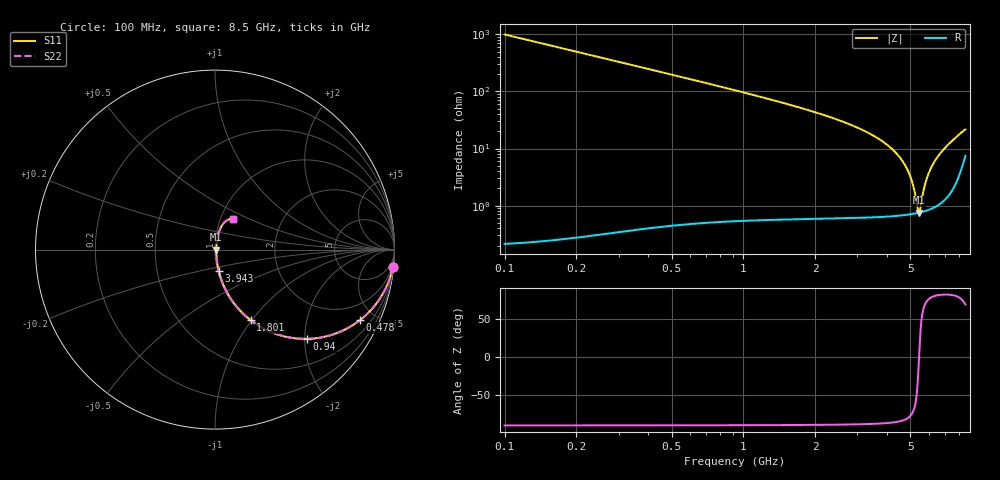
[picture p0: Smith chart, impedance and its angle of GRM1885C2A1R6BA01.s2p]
!Murata Part Number: GRM1885C2A1R6BA01
!These Parameters are Measured in Series Mode Connection
!Data Generated on Mar 30, 2021
!  o--ll--o
!Port1  Port2
!  o------o
!Operation Temp=25[degC], DC Bias Voltage=0[V]
!Freq. Start=100[MHz] Stop=9[GHz] 401[Steps]
# Hz S RI R 50
!Freq.(Hz) S11(Real) S11(Imag) S21(Real) S21(Imag) S12(Real) S12(Imag) S22(Real) S22(Imag)
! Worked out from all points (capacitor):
!   401 points, 100 MHz to 8.5 GHz, reference 50 ohm
!   read as one part in series: C = 1.6 pF near 142 MHz
!   lowest |Z| = 753 mohm at 5.434 GHz (marker M1)
!   series resonance near 5.436 GHz, so ESL is about 540 pH
!   S11 on the Smith chart (normalised r, x): 100 MHz: 1, -20; 478 MHz: 1.01, -4.13; 940 MHz: 1.01, -2.05; 1.801 GHz: 1.01, -0.98; 3.943 GHz: 1.01, -0.24; 8.5 GHz: 1.15, +0.40
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1e8  0.99 -0.0996  0.01 0.0996  0.01 0.0996  0.99 -0.0996
2.68e8  0.9318 -0.2517  0.0682 0.2517  0.0682 0.2517  0.9318 -0.2517
4.78e8  0.8093 -0.3918  0.1907 0.3918  0.1907 0.3918  0.8093 -0.3918
6.88e8  0.6684 -0.469  0.3316 0.469  0.3316 0.469  0.6684 -0.469
9.4e8  0.5128 -0.4972  0.4872 0.4972  0.4872 0.4972  0.5128 -0.4972
1.507e9  0.2729 -0.4408  0.7271 0.4408  0.7271 0.4408  0.2729 -0.4408
1.801e9  0.198 -0.3927  0.802 0.3927  0.802 0.3927  0.198 -0.3927
2.914e9  0.0617 -0.2285  0.9383 0.2285  0.9383 0.2285  0.0617 -0.2285
3.943e9  0.0206 -0.1182  0.9794 0.1182  0.9794 0.1182  0.0206 -0.1182
4.3e9  0.0141 -0.0865  0.9859 0.0865  0.9859 0.0865  0.0141 -0.0865
4.678e9  0.00987 -0.0556  0.9901 0.0556  0.9901 0.0556  0.00987 -0.0556
4.972e9  0.00809 -0.0332  0.9919 0.0332  0.9919 0.0332  0.00809 -0.0332
5.161e9  0.00753 -0.0193  0.9925 0.0193  0.9925 0.0193  0.00753 -0.0193
5.371e9  0.00741 -0.00449  0.9926 0.00449  0.9926 0.00449  0.00741 -0.00449
5.434e9  0.00747 -0.000125  0.9925 0.000125  0.9925 0.000125  0.00747 -0.000125
5.497e9  0.00757 0.0042  0.9924 -0.0042  0.9924 -0.0042  0.00757 0.0042
5.707e9  0.00821 0.0183  0.9918 -0.0183  0.9918 -0.0183  0.00821 0.0183
5.917e9  0.0093 0.0321  0.9907 -0.0321  0.9907 -0.0321  0.0093 0.0321
6.211e9  0.0116 0.0509  0.9884 -0.0509  0.9884 -0.0509  0.0116 0.0509
6.61e9  0.0162 0.0757  0.9838 -0.0757  0.9838 -0.0757  0.0162 0.0757
7.114e9  0.0252 0.1063  0.9748 -0.1063  0.9748 -0.1063  0.0252 0.1063
8.5e9  0.1013 0.1692  0.8987 -0.1692  0.8987 -0.1692  0.1013 0.1692
